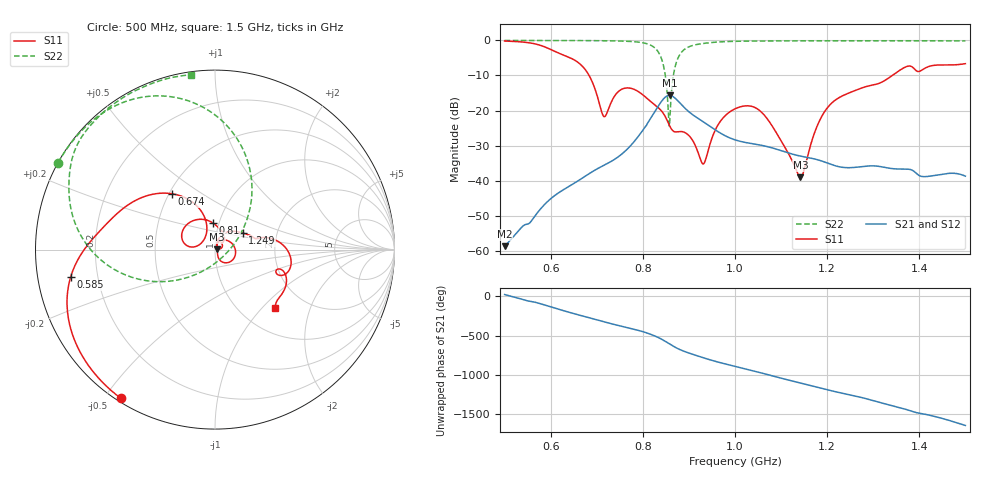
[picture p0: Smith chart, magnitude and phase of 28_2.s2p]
! TOUCHSTONE file generated by CST MICROWAVE STUDIO
! Date and time: Wed Oct 28 19:38:44 2020
! Project name: Scenario_1_Circular_Tissue_out_of_Line_v2.cst
! Parameters = {dy1=121.1; L_HA=400; MT=2.54; Rad_Dielectric=30; Rad_Lower=7.3; Rad_Upper=30; a_HA=580; a_WG=246; b_HA=500; b_WG=121; c_HA=0; c_WG=187; d_feed=85; dx1=346; h_feed=15; h_lower=18; h_upper=40}
! Header version: 2018
! Port assignment regex: !\s*Touchstone port\s*([0-9]+)\s*=\s*(CST MWS port|CST DS port)\s*([0-9]+|Zmin|Zmax)\s*\(\"(.*)\"\)(\s*mode\s*([0-9]+))?.*
! Touchstone port assignment:
! Touchstone port 1 = CST MWS port 1 ("")
! Touchstone port 2 = CST MWS port 2 ("")
# GHz S DB R 50
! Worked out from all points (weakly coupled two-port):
!   1003 points, 500 MHz to 1.5 GHz, reference 50 ohm
!   highest |S21| = -15.65 dB at 858 MHz (marker M1); lowest = -58.7 dB at 500 MHz (marker M2)
!   lowest |S11| = -39.1 dB at 1.142 GHz (marker M3), VSWR 1.02, Z = 51.1 + j0.165 ohm
!   |S11| at or under -10 dB: 683.4 MHz to 1.341 GHz (657.9 MHz wide, 65 % of centre)
!   |S22| runs from -24.4 to 0.0 dB; largest |S21 - S12| = 0.0011
!   S11 on the Smith chart (normalised r, x): 500 MHz: 0.01, -0.55; 585 MHz: 0.10, -0.09; 674 MHz: 0.52, +0.38; 810 MHz: 0.94, +0.28; 1.249 GHz: 1.34, +0.26; 1.5 GHz: 1.42, -1.18
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0.5  -0.17 -122.3  -58.67 24.8  -58.67 24.8  -0.01 151.1
0.585  -1.73 -169.2  -47.02 -105.3  -47.01 -105.3  -0.02 145.3
0.667  -7.12 134.6  -39.40 113.5  -39.40 113.5  -0.04 138.4
0.674  -8.14 127.4  -38.80 102.1  -38.80 102.1  -0.04 137.7
0.716  -21.74 142.0  -35.57 33.7  -35.57 33.7  -0.08 132.8
0.757  -13.76 154.1  -32.11 -25.0  -32.11 -25.0  -0.19 126.0
0.81  -16.64 93.7  -23.65 -110.4  -23.68 -110.2  -0.99 106.9
0.834  -19.24 69.3  -18.63 -167.2  -18.63 -167.2  -3.39 83.0
0.847  -21.34 52.0  -16.36 151.2  -16.36 151.2  -8.63 56.3
0.858  -24.29 43.3  -15.65 111.0  -15.65 111.0  -23.83 -72.4
0.867  -25.94 46.4  -16.14 79.2  -16.14 79.2  -9.43 -148.1
0.879  -25.99 44.8  -17.64 43.3  -17.64 43.3  -4.32 -172.1
0.931  -35.22 37.1  -23.18 -64.7  -23.18 -64.7  -0.87 153.8
0.963  -24.10 55.3  -26.00 -120.2  -26.00 -120.2  -0.45 146.4
1  -19.51 12.7  -28.35 -174.5  -28.35 -174.5  -0.25 140.2
1.06  -20.79 -53.3  -29.97 95.6  -29.97 95.6  -0.16 133.3
1.142  -39.05 8.3  -32.98 -28.9  -32.98 -28.9  -0.11 126.1
1.167  -28.52 73.7  -33.63 -66.1  -33.63 -66.1  -0.10 124.2
1.2  -19.28 59.2  -34.95 -115.9  -34.95 -115.9  -0.09 121.6
1.249  -14.89 30.8  -36.29 -178.9  -36.29 -178.9  -0.08 117.9
1.334  -10.67 13.3  -36.42 50.8  -36.42 50.8  -0.08 111.5
1.5  -6.62 -44.6  -38.69 147.3  -38.69 147.3  -0.14 97.9
